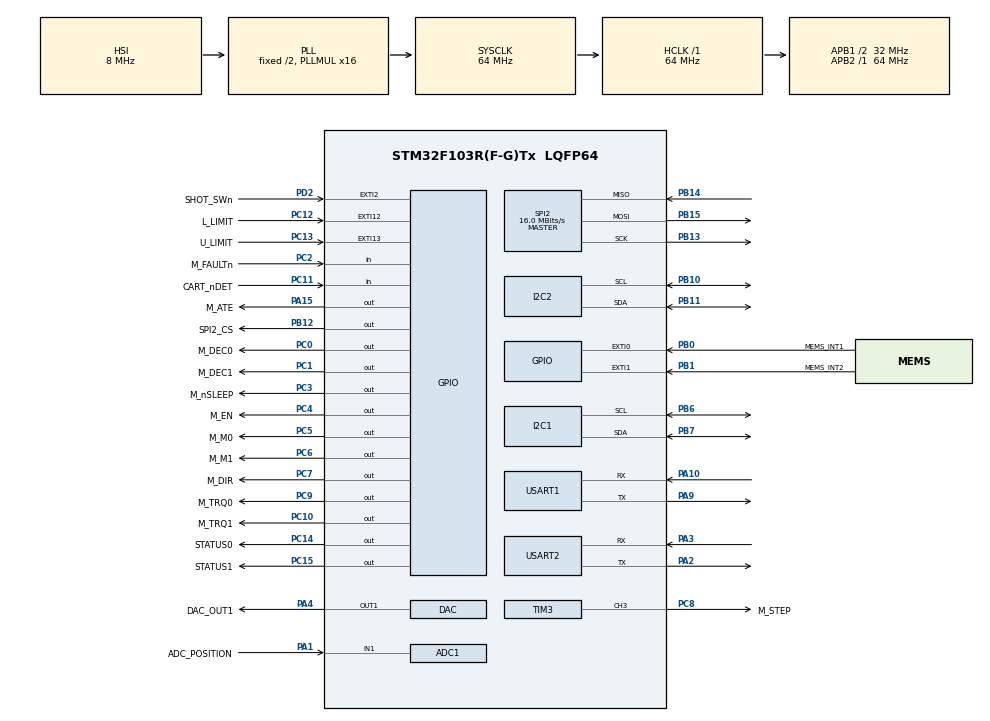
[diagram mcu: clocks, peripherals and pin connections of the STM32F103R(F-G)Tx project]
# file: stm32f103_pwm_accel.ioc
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Mcu.Family=STM32F1
SPI2.VirtualType=VM_MASTER
PB10.Mode=I2C
PC10.Signal=GPIO_Output
PC12.Signal=GPXTI12
PA14.GPIO_Label=SWCLK
PC0.GPIO_Label=M_DEC0
PC6.GPIO_Label=M_M1
PB0.GPIO_Label=MEMS_INT1
PB11.Signal=I2C2_SDA
PB13.Signal=SPI2_SCK
PB15.Signal=SPI2_MOSI
PC15-OSC32_OUT.GPIO_Label=STATUS1
PC3.GPIO_Speed=GPIO_SPEED_FREQ_LOW
RCC.SYSCLKSource=RCC_SYSCLKSOURCE_PLLCLK
ProjectManager.StackSize=0x1000
PA15.GPIO_Label=M_ATE
NVIC.EXTI1_IRQn=true\:0\:0\:false\:false\:true\:true\:true
Dma.DAC_CH1.0.Instance=DMA2_Channel3
RCC.HCLKFreq_Value=64000000
RCC.APB2TimFreq_Value=64000000
TIM3.Period=999
PB6.Signal=I2C1_SCL
PC7.Signal=GPIO_Output
PB12.PinState=GPIO_PIN_SET
PB6.Mode=I2C
PC3.Signal=GPIO_Output
RCC.AHBFreq_Value=64000000
PD2.GPIO_ModeDefaultEXTI=GPIO_MODE_IT_FALLING
NVIC.EXTI15_10_IRQn=true\:0\:0\:false\:false\:true\:true\:true
ADC1.Channel-0\#ChannelRegularConversion=ADC_CHANNEL_1
TIM3.Pulse-PWM\ Generation3\ CH3=500
RCC.PLLMUL=RCC_PLL_MUL16
PB12.GPIO_Label=SPI2_CS
DAC.DAC_Trigger=DAC_TRIGGER_T6_TRGO
PC4.GPIO_Label=M_EN
PB14.Mode=Full_Duplex_Master
TIM3.Prescaler=63
PB1.GPIO_Label=MEMS_INT2
PC11.GPIO_Label=CART_nDET
SPI2.CalculateBaudRate=16.0 MBits/s
Dma.DAC_CH1.0.PeriphDataAlignment=DMA_PDATAALIGN_HALFWORD
PB7.Signal=I2C1_SDA
NVIC.DMA2_Channel3_IRQn=true\:0\:0\:false\:false\:true\:false\:true
TIM6.Period=99
ADC1.SamplingTime-0\#ChannelRegularConversion=ADC_SAMPLETIME_1CYCLE_5
PC14-OSC32_IN.GPIO_Speed=GPIO_SPEED_FREQ_HIGH
TIM3.OCPolarity_3=TIM_OCPOLARITY_LOW
Mcu.Package=LQFP64
PB1.Signal=GPXTI1
SPI2.Mode=SPI_MODE_MASTER
USART2.VirtualMode=VM_ASYNC
PA10.Signal=USART1_RX
PA15.Signal=GPIO_Output
Dma.DAC_CH1.0.Priority=DMA_PRIORITY_MEDIUM
SH.ADCx_IN1.0=ADC1_IN1,IN1
NVIC.EXTI2_IRQn=true\:1\:0\:true\:false\:true\:true\:true
RCC.APB1TimFreq_Value=64000000
PC14-OSC32_IN.GPIO_Label=STATUS0
SPI2.Direction=SPI_DIRECTION_2LINES
PC15-OSC32_OUT.GPIO_Speed=GPIO_SPEED_FREQ_HIGH
PC5.Signal=GPIO_Output
PB13.Mode=Full_Duplex_Master
Dma.Request0=DAC_CH1
PA4.GPIO_Label=DAC_OUT1
PC2.GPIO_Label=M_FAULTn
PC12.GPIO_ModeDefaultEXTI=GPIO_MODE_IT_RISING_FALLING
PA3.Signal=USART2_RX
SH.COMP_DAC1_group.0=DAC_OUT1,DAC_OUT1
Dma.DAC_CH1.0.Mode=DMA_CIRCULAR
Dma.DAC_CH1.0.MemDataAlignment=DMA_MDATAALIGN_HALFWORD
ADC1.Rank-0\#ChannelRegularConversion=1
PA10.Mode=Asynchronous
PC10.GPIO_Label=M_TRQ1
PC9.GPIO_Label=M_TRQ0
PC11.Signal=GPIO_Input
PC8.Signal=S_TIM3_CH3
TIM6.Prescaler=1
PC2.Signal=GPIO_Input
PC4.Signal=GPIO_Output
PC6.Signal=GPIO_Output
VP_TIM6_VS_ClockSourceINT.Mode=Enable_Timer
PC13-TAMPER-RTC.Signal=GPXTI13
PC0.Signal=GPIO_Output
RCC.APB1CLKDivider=RCC_HCLK_DIV2
PC14-OSC32_IN.Signal=GPIO_Output
VP_SYS_VS_ND.Mode=No_Debug
SH.S_TIM3_CH3.0=TIM3_CH3,PWM Generation3 CH3
NVIC.USART2_IRQn=true\:1\:0\:true\:false\:true\:true\:true
RCC.ADCPresc=RCC_ADCPCLK2_DIV6
PC8.GPIO_Label=M_STEP
PA3.Mode=Asynchronous
PA13.Signal=SYS_JTMS-SWDIO
TIM3.Channel-PWM\ Generation3\ CH3=TIM_CHANNEL_3
TIM6.AutoReloadPreload=TIM_AUTORELOAD_PRELOAD_ENABLE
Dma.DAC_CH1.0.Direction=DMA_MEMORY_TO_PERIPH
PA9.Mode=Asynchronous
PB11.Mode=I2C
ProjectManager.TargetToolchain=STM32CubeIDE
I2C1.I2C_Mode=I2C_Standard
PA9.Signal=USART1_TX
Dma.DAC_CH1.0.MemInc=DMA_MINC_ENABLE
RCC.USBFreq_Value=64000000
PC15-OSC32_OUT.Signal=GPIO_Output
PA1.Signal=ADCx_IN1
PB12.GPIO_Speed=GPIO_SPEED_FREQ_HIGH
PB10.Signal=I2C2_SCL
PB14.Signal=SPI2_MISO
board=custom
PC13-TAMPER-RTC.GPIO_ModeDefaultEXTI=GPIO_MODE_IT_FALLING
PC13-TAMPER-RTC.GPIO_Label=U_LIMIT
PB15.Mode=Full_Duplex_Master
NVIC.TIM3_IRQn=true\:0\:0\:true\:false\:true\:true\:true
PA15.PinState=GPIO_PIN_SET
RCC.APB2Freq_Value=64000000
PC1.GPIO_Label=M_DEC1
PA1.GPIO_Label=ADC_POSITION
TIM6.TIM_MasterOutputTrigger=TIM_TRGO_UPDATE
Mcu.Name=STM32F103R(F-G)Tx
PA2.Signal=USART2_TX
PA13.GPIO_Label=SWDIO
PC7.GPIO_Label=M_DIR
Dma.DAC_CH1.0.PeriphInc=DMA_PINC_DISABLE
NVIC.EXTI0_IRQn=true\:0\:0\:false\:false\:true\:true\:true
PA4.Signal=COMP_DAC1_group
RCC.SYSCLKFreq_VALUE=64000000
ADC1.master=1
PC5.GPIO_Label=M_M0
PC12.GPIO_Label=L_LIMIT
USART1.VirtualMode=VM_ASYNC
PB7.Mode=I2C
PA14.Signal=SYS_JTCK-SWCLK
ProjectManager.HeapSize=0x1000
NVIC.PriorityGroup=NVIC_PRIORITYGROUP_4
ADC1.NbrOfConversionFlag=1
PA2.Mode=Asynchronous
PC3.GPIO_Label=M_nSLEEP
PC9.Signal=GPIO_Output
TIM3.TIM_MasterOutputTrigger=TIM_TRGO_UPDATE
PD2.Signal=GPXTI2
RCC.APB1Freq_Value=32000000
PB0.Signal=GPXTI0
PC1.Signal=GPIO_Output
PB12.Signal=GPIO_Output
PD2.GPIO_Label=SHOT_SWn

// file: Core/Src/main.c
/* USER CODE BEGIN Header */
/**
  ******************************************************************************
  * @file           : main.c
  * @brief          : Main program body
  ******************************************************************************
  * @attention
  *
  * <h2><center>&copy; Copyright (c) 2020 STMicroelectronics.
  * All rights reserved.</center></h2>
  *
  * This software component is licensed by ST under BSD 3-Clause license,
  * the "License"; You may not use this file except in compliance with the
  * License. You may obtain a copy of the License at:
  *                        opensource.org/licenses/BSD-3-Clause
  *
  ******************************************************************************
  */
/* USER CODE END Header */
#include "main.h"
#include "adc.h"
#include "dac.h"
#include "dma.h"
#include "i2c.h"
#include "spi.h"
#include "tim.h"
#include "usart.h"
#include "gpio.h"

/* USER CODE BEGIN Includes */
#include "command.h"
#include <stdio.h>
#include "drv8880.h"
#include "math.h"
/* USER CODE END Includes */

/* USER CODE BEGIN PD */
#define BUF_SIZE 100
/* USER CODE END PD */

/* USER CODE BEGIN PV */
uint8_t motor_dir = 0;
extern volatile uint32_t step_cnt;
extern volatile uint32_t shot_cnt;
extern uint8_t drv8880_state;
extern unsigned char nexMessage[10];

/* USER CODE END PV */

void SystemClock_Config(void);

/* USER CODE BEGIN 0 */
/* TIM6 : DAC Trigger */
//  HAL_TIM_Base_Start(&htim6);
//  HAL_DAC_Start(&hdac, DAC_CHANNEL_2);
/* USER CODE END 0 */

int main(void)
{
  /* USER CODE BEGIN 1 */
	char commandline[25];
	uint16_t tmp = 0;
	uint16_t freq = 0;

	uint16_t value=0;
	uint16_t buffer[BUF_SIZE];

	for(int i=0;i<BUF_SIZE;i++)
	{
		value = (uint16_t)rint((sinf(((2*3.141592)/BUF_SIZE)*i)+1)*2048);
		buffer[i]=value <4096 ? value : 4095;
	}
  /* USER CODE END 1 */

  /* MCU Configuration--------------------------------------------------------*/

  /* Reset of all peripherals, Initializes the Flash interface and the Systick. */
  HAL_Init();

  /* Configure the system clock */
  SystemClock_Config();

  /* Initialize all configured peripherals */
  MX_GPIO_Init();
  MX_DMA_Init();
  MX_ADC1_Init();
  MX_TIM3_Init();
  MX_DAC_Init();
  MX_I2C1_Init();
  MX_SPI2_Init();
  MX_TIM6_Init();
  MX_USART1_UART_Init();
  MX_USART2_UART_Init();
  MX_I2C2_Init();
  /* USER CODE BEGIN 2 */
  printf("\n\nSTM32F103RG Test Ver0.1\n");

  printf(" - SysClk Freq. : %d\n", HAL_RCC_GetSysClockFreq());
  printf(" - HCLK Freq. : %d\n", HAL_RCC_GetHCLKFreq());
  printf(" - PCLK1 Freq. : %d\n", HAL_RCC_GetPCLK1Freq());
  printf(" - PCLK2 Freq. : %d\n", HAL_RCC_GetPCLK2Freq());

  HAL_UART_Receive_IT(&huart2, nexMessage, 10);

  HAL_GPIO_WritePin(STATUS0_GPIO_Port, STATUS0_Pin, GPIO_PIN_SET);
  HAL_GPIO_WritePin(STATUS1_GPIO_Port, STATUS1_Pin, GPIO_PIN_RESET);

  // Step Motor driver initial
  drv8880_init();

//  printf("DAC_OUT1 Start...\n");
//  /* TIM6 : DAC Trigger */
//  HAL_TIM_Base_Start(&htim6);
////  HAL_DAC_Start(&hdac, DAC_CHANNEL_1);
//  HAL_DAC_Start_DMA(&hdac, DAC_CHANNEL_1, (uint32_t*)buffer, BUF_SIZE, DAC_ALIGN_12B_R);

//  printf("TIM3 OC Start...\n");
//  HAL_TIM_Base_Start_IT(&htim3);
//  HAL_TIM_OC_Start_IT(&htim3, TIM_CHANNEL_1);
//  HAL_TIM_OC_Start_IT(&htim3, TIM_CHANNEL_2);

  if(HAL_GPIO_ReadPin(L_LIMIT_GPIO_Port, L_LIMIT_Pin))
  {
	  motor_dir = 0;
	  printf("motor dir %d\n", motor_dir);
  }
  else if(HAL_GPIO_ReadPin(U_LIMIT_GPIO_Port, U_LIMIT_Pin))
  {
	  motor_dir = 1;
	  printf("motor dir %d\n", motor_dir);
  }

  /* USER CODE END 2 */

  /* Infinite loop */
  while (1)
  {

    /* USER CODE BEGIN 3 */
/*	if(drv8880_state == 1)
	{
		HAL_TIM_PWM_Start_IT(&htim3, TIM_CHANNEL_3);
	}
	else
	{
		HAL_TIM_PWM_Stop_IT(&htim3, TIM_CHANNEL_3);
	}
*/

	  //If there is no '\n' in Ture Studio, printf will not be printed.
	  DebugUart_PutStr("\nTEST> ");
	  GetCommand(commandline, 25);
	  if(MyStrNCmp(commandline, "led", 3) == 0)
	  {
	  	  sscanf(commandline, "%*s %d", &tmp);
	  	  if(tmp==1)
	  		HAL_GPIO_WritePin(STATUS0_GPIO_Port, STATUS0_Pin, GPIO_PIN_SET);
	  	  else
	  		  HAL_GPIO_WritePin(STATUS0_GPIO_Port, STATUS0_Pin, GPIO_PIN_RESET);
	  }
	  else if(MyStrNCmp(commandline, "motor", 5) == 0)
	  {
		  printf("motor step_cnt %d\n", step_cnt);
		  HAL_GPIO_WritePin(STATUS1_GPIO_Port, STATUS1_Pin, GPIO_PIN_SET);

	  	  sscanf(commandline, "%*s %d", &tmp);
	  	  if(tmp==1)
	  	  {
			  printf("drv8880 enable\n");
			  drv8880_enable();
			  HAL_TIM_PWM_Start_IT(&htim3, TIM_CHANNEL_3);
	  	  }
	  	  else
	  	  {
	  		  HAL_TIM_PWM_Stop_IT(&htim3, TIM_CHANNEL_3);
	  		  printf("drv8880 disable\n");
	  		  drv8880_disable();
	  	  }
	  }
	  else if(MyStrNCmp(commandline, "dir", 3) == 0)
	  {
	  	  sscanf(commandline, "%*s %d", &motor_dir);
	  	  printf("motor dir is %d\n", motor_dir);
	  	  drv8880_dir(motor_dir);
	  }
	  else if(MyStrNCmp(commandline, "step", 4) == 0)
	  {
	  	  sscanf(commandline, "%*s %d", &step_cnt);
	  	  printf("motor step cnt is %d\n", step_cnt);
	  }
	  else if(MyStrNCmp(commandline, "shot", 4) == 0)
	  {
	  	  sscanf(commandline, "%*s %d", &shot_cnt);
	  	  printf("shot cnt is %d\n", shot_cnt);
	  }
	  else if(MyStrNCmp(commandline, "freq", 4) == 0)
	  {
	  	  sscanf(commandline, "%*s %d", &freq);

	  	  __HAL_TIM_SET_COMPARE(&htim3, TIM_CHANNEL_3, (1000000/freq)/2);
//	  	  htim3.Instance->CCR3 = (1000000/freq)/2;
	  	  __HAL_TIM_SET_AUTORELOAD(&htim3, 1000000/freq - 1);
//	  	  htim3.Instance->ARR = 1000000/freq - 1;

	  	  printf("motor freq is %d Hz\n", freq);
	  }
	  else if(MyStrNCmp(commandline, "sleep", 5) == 0)
	  {
	  	  sscanf(commandline, "%*s %d", &tmp);
	  	  printf("Motor Sleep is %d\n", tmp);
	  	  drv8880_sleep(tmp);
	  }
	  else if(MyStrNCmp(commandline, "microstep", 9) == 0)
	  {
		  sscanf(commandline, "%*s %d", &tmp);
		  switch(tmp)
		  {
		  	  case 0:
		  		  HAL_GPIO_WritePin(M_M0_GPIO_Port, M_M0_Pin, GPIO_PIN_RESET);
		  		  HAL_GPIO_WritePin(M_M1_GPIO_Port, M_M1_Pin, GPIO_PIN_RESET);
		  		  printf("full step mode\n");
		  		  break;
		  	  case 2:
		  		  HAL_GPIO_WritePin(M_M0_GPIO_Port, M_M0_Pin, GPIO_PIN_RESET);
		  		  HAL_GPIO_WritePin(M_M1_GPIO_Port, M_M1_Pin, GPIO_PIN_SET);
		  		  printf("1/2 step mode\n");
		  		  break;
		  	  case 4:
		  		  HAL_GPIO_WritePin(M_M0_GPIO_Port, M_M0_Pin, GPIO_PIN_SET);
		  		  HAL_GPIO_WritePin(M_M1_GPIO_Port, M_M1_Pin, GPIO_PIN_SET);
		  		  printf("1/4 step mode\n");
		  		  break;
		  	  default:
		  		  printf("select 0(full step), 2(1/2 step), 4(1/4 step)\n");
		  		  break;
		  }
	  }
	  else if(MyStrNCmp(commandline, "torq", 4) == 0)
	  {
		  sscanf(commandline, "%*s %d", &tmp);
		  switch(tmp)
		  {
		  	  case 25:
		  		  HAL_GPIO_WritePin(M_TRQ0_GPIO_Port, M_TRQ0_Pin, GPIO_PIN_SET);
		  		  HAL_GPIO_WritePin(M_TRQ1_GPIO_Port, M_TRQ1_Pin, GPIO_PIN_SET);
		  		  printf("torque 25%%\n");
		  		  break;
		  	  case 50:
		  		  HAL_GPIO_WritePin(M_TRQ0_GPIO_Port, M_TRQ0_Pin, GPIO_PIN_RESET);
		  		  HAL_GPIO_WritePin(M_TRQ1_GPIO_Port, M_TRQ1_Pin, GPIO_PIN_SET);
		  		  printf("torque 50%%\n");
		  		  break;
		  	  case 75:
		  		  HAL_GPIO_WritePin(M_TRQ0_GPIO_Port, M_TRQ0_Pin, GPIO_PIN_SET);
		  		  HAL_GPIO_WritePin(M_TRQ1_GPIO_Port, M_TRQ1_Pin, GPIO_PIN_RESET);
		  		  printf("torque 75%%\n");
		  		  break;
		  	  case 100:
		  		  HAL_GPIO_WritePin(M_TRQ0_GPIO_Port, M_TRQ0_Pin, GPIO_PIN_RESET);
		  		  HAL_GPIO_WritePin(M_TRQ1_GPIO_Port, M_TRQ1_Pin, GPIO_PIN_RESET);
		  		  printf("torque 100%%\n");
		  		  break;
		  	  default:
		  		  printf("select 25, 50, 75, 100\n");
		  		  break;
		  }
	  }
	  else if(MyStrNCmp(commandline, "tca1r", 5) == 0)
	  {
		  uint16_t addr;

	  	  sscanf(commandline, "%*s %x", &addr);
	  	  printf("reg[%x] data[%x]\n",addr, read_tca1_reg(addr));
	  }
	  else if(MyStrNCmp(commandline, "tca1w", 5) == 0)
	  {
		  uint16_t addr, data;

	  	  sscanf(commandline, "%*s %x %x", &addr, &data);
	  	  printf("addr = %x\ndata = %x\n", addr, data);
	  	  write_tca1_reg(addr, data);
	  }
	  else if(MyStrNCmp(commandline, "tca2r", 5) == 0)
	  {
		  uint16_t addr;

	  	  sscanf(commandline, "%*s %x", &addr);
	  	  printf("reg[%x] data[%x]\n",addr, read_tca2_reg(addr));
	  }
	  else if(MyStrNCmp(commandline, "tca2w", 5) == 0)
	  {
		  uint16_t addr, data;

	  	  sscanf(commandline, "%*s %x %x", &addr, &data);
	  	  printf("addr = %x\ndata = %x\n", addr, data);
	  	  write_tca2_reg(addr, data);
	  }
	  else if(MyStrNCmp(commandline, "eepr", 4) == 0)
	  {
		  uint16_t addr;

	  	  sscanf(commandline, "%*s %x", &addr);
	  	  printf("Addr[%x] data[%x]\n",addr, read_eeprom(addr));
	  }
	  else if(MyStrNCmp(commandline, "eepw", 4) == 0)
	  {
		  uint16_t addr, data;

	  	  sscanf(commandline, "%*s %x %x", &addr, &data);
	  	  printf("addr = %x\ndata = %x\n", addr, data);
	  	  write_eeprom(addr, data);
	  }
	  else if(MyStrNCmp(commandline, "scan", 4) == 0)
	  {
		  uint16_t data1, data2, data3;

	  	  sscanf(commandline, "%*s %d %d %d", &data1, &data2, &data3);
	  	  printf("data1 = %x\ndata2 = %x\ndata3 = %x\n", data1, data2, data3);
	  }
	  else
	  {
	  	  printf("command error\n");
	  }

  }
  /* USER CODE END 3 */
}

void SystemClock_Config(void)
{
  RCC_OscInitTypeDef RCC_OscInitStruct = {0};
  RCC_ClkInitTypeDef RCC_ClkInitStruct = {0};
  RCC_PeriphCLKInitTypeDef PeriphClkInit = {0};

  /** Initializes the RCC Oscillators according to the specified parameters
  * in the RCC_OscInitTypeDef structure.
  */
  RCC_OscInitStruct.OscillatorType = RCC_OSCILLATORTYPE_HSI;
  RCC_OscInitStruct.HSIState = RCC_HSI_ON;
  RCC_OscInitStruct.HSICalibrationValue = RCC_HSICALIBRATION_DEFAULT;
  RCC_OscInitStruct.PLL.PLLState = RCC_PLL_ON;
  RCC_OscInitStruct.PLL.PLLSource = RCC_PLLSOURCE_HSI_DIV2;
  RCC_OscInitStruct.PLL.PLLMUL = RCC_PLL_MUL16;
  if (HAL_RCC_OscConfig(&RCC_OscInitStruct) != HAL_OK)
  {
    Error_Handler();
  }
  /** Initializes the CPU, AHB and APB buses clocks
  */
  RCC_ClkInitStruct.ClockType = RCC_CLOCKTYPE_HCLK|RCC_CLOCKTYPE_SYSCLK
                              |RCC_CLOCKTYPE_PCLK1|RCC_CLOCKTYPE_PCLK2;
  RCC_ClkInitStruct.SYSCLKSource = RCC_SYSCLKSOURCE_PLLCLK;
  RCC_ClkInitStruct.AHBCLKDivider = RCC_SYSCLK_DIV1;
  RCC_ClkInitStruct.APB1CLKDivider = RCC_HCLK_DIV2;
  RCC_ClkInitStruct.APB2CLKDivider = RCC_HCLK_DIV1;

  if (HAL_RCC_ClockConfig(&RCC_ClkInitStruct, FLASH_LATENCY_2) != HAL_OK)
  {
    Error_Handler();
  }
  PeriphClkInit.PeriphClockSelection = RCC_PERIPHCLK_ADC;
  PeriphClkInit.AdcClockSelection = RCC_ADCPCLK2_DIV6;
  if (HAL_RCCEx_PeriphCLKConfig(&PeriphClkInit) != HAL_OK)
  {
    Error_Handler();
  }
}

void Error_Handler(void)
{
}

/************************ (C) COPYRIGHT STMicroelectronics *****END OF FILE****/
